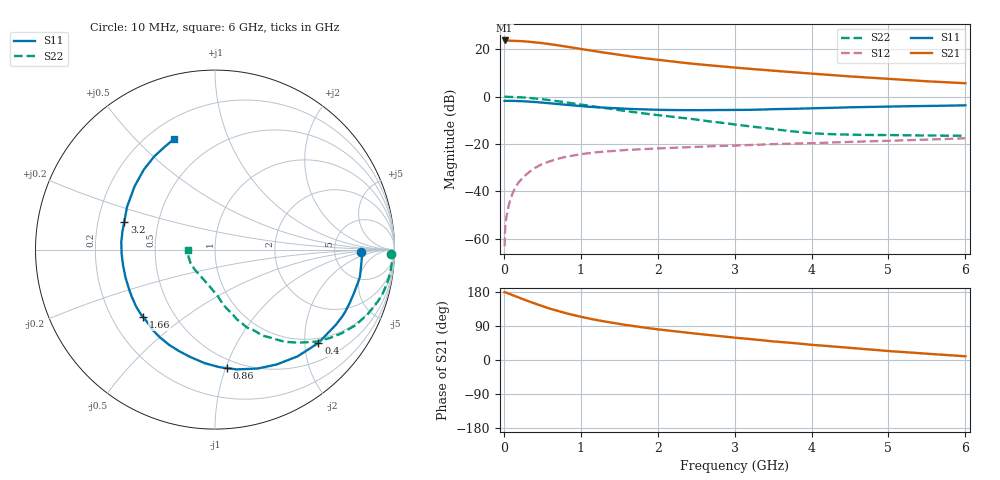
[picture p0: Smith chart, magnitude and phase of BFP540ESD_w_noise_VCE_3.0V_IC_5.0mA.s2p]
! Infineon Technologies  Discrete & RF Semiconductors
! BFP540ESD
! VCE =  3.0 V,  IC =  5.0 mA
! Common Emitter S-Parameters:  Nov 2015
# GHz  S  MA  R  50
!  f  S11  S21  S12  S22
! GHz  MAG  ANG  MAG  ANG  MAG  ANG  MAG  ANG
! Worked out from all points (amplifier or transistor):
!   210 points, 10 MHz to 6 GHz, reference 50 ohm
!   highest |S21| = 23.7 dB at 10 MHz (marker M1)
!   |S21| within 3 dB of that: start of sweep to 889.3 MHz
!   unconditionally stable (mu >= 1): 3.32 GHz to end of sweep
!   at 185 MHz: K = 0.05, MSG = 30.0 dB, |S12| = -36.5 dB
!   at 1.52 GHz: K = 0.49, MSG = 20.1 dB, |S12| = -22.7 dB
!   at 6 GHz: K = 1.22, MAG = 8.8 dB, |S12| = -17.6 dB
!   lowest NFmin = 0.69 dB at 900 MHz
!   S11 on the Smith chart (normalised r, x): 10 MHz: 9.79, -0.75; 400 MHz: 0.88, -2.31; 860 MHz: 0.43, -1.01; 1.66 GHz: 0.33, -0.36; 3.2 GHz: 0.31, +0.14; 6 GHz: 0.30, +0.65
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0.01  0.8156 -0.9  15.38 178.8  0.0007 90.5  0.9824 -1.3
0.02  0.8196 -2.4  15.31 178.6  0.002 99.5  1 -1.2
0.03  0.8192 -3.4  15.29 177.7  0.0027 97.4  0.9968 -1.8
0.11  0.8193 -11.8  15.22 171.3  0.0088 85.5  0.9854 -6.5
0.24  0.804 -25.6  14.83 161.2  0.019 78.7  0.9674 -14.2
0.4  0.7763 -42.1  14.08 149.2  0.031 70.7  0.9229 -23.2
0.5  0.7519 -52.3  13.55 142.1  0.0379 67.1  0.8864 -28.6
0.6  0.7264 -61.8  12.83 135.4  0.0434 61.9  0.8461 -33.4
0.7  0.7036 -70.4  12.19 129.7  0.0488 58.7  0.8047 -37.9
0.86  0.6633 -84.4  11.08 120.8  0.0558 53.0  0.7366 -44.4
1.02  0.6303 -96.6  10.06 113.2  0.0617 48.7  0.6734 -50.1
1.18  0.6018 -108.3  9.137 106.4  0.0665 44.4  0.6162 -54.9
1.3  0.5892 -115.7  8.545 102.1  0.0691 42.3  0.5783 -57.9
1.5  0.5656 -128.5  7.645 95.1  0.073 38.8  0.519 -62.9
1.66  0.5489 -136.9  7.044 90.3  0.0761 36.6  0.479 -66.5
2.02  0.5282 -154.5  5.956 80.5  0.081 33.0  0.4062 -72.6
2.56  0.5199 -176.1  4.777 68.2  0.0879 29.2  0.3178 -80.7
3.1  0.5264 165.9  3.992 57.2  0.0942 26.6  0.2478 -88.7
3.2  0.5288 162.9  3.871 55.3  0.0956 26.1  0.2369 -90.8
4.1  0.5739 139.7  2.988 38.6  0.1057 22.0  0.1661 -120.3
5.1  0.6229 121.6  2.325 22.3  0.1185 17.7  0.1545 -154.4
6  0.6572 110.3  1.924 9.8  0.1323 14.5  0.1499 -179.5
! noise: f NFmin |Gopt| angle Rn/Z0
0.9  0.69  0.1  42  0.12
1.8  0.92  0.1  123  0.11
2.4  0.94  0.12  135  0.1
3  1.1  0.2  165  0.09
4  1.26  0.29  -127  0.15
5  1.53  0.41  -101  0.32
6  1.74  0.53  -100  0.46
